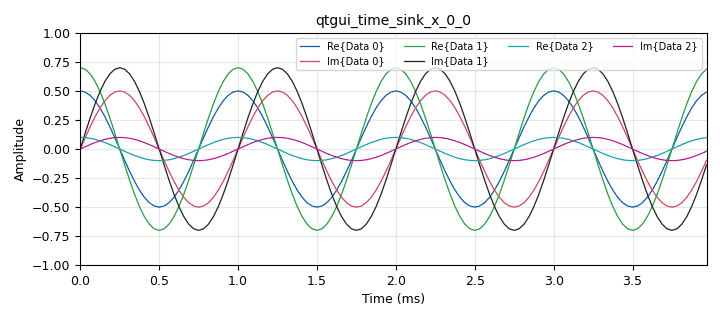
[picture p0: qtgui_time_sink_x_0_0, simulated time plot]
<?xml version='1.0' encoding='utf-8'?>
<?grc format='1' created='3.7.8'?>
<flow_graph>
<block>
<key>options</key>
<param><key>id</key><value>top_block</value></param>
<param><key>category</key><value>Custom</value></param>
<param><key>generate_options</key><value>qt_gui</value></param>
</block>
<block>
<key>variable</key>
<param><key>id</key><value>cal_tone_freq</value></param>
<param><key>value</key><value>1000</value></param>
</block>
<block>
<key>variable</key>
<param><key>id</key><value>samp_rate</value></param>
<param><key>value</key><value>32000</value></param>
</block>
<block>
<key>variable</key>
<param><key>id</key><value>samp_rate_0</value></param>
<param><key>value</key><value>32000</value></param>
</block>
<block>
<key>variable_qtgui_chooser</key>
<param><key>id</key><value>variable_qtgui_chooser_0</value></param>
<param><key>value</key><value>0</value></param>
<param><key>label0</key><value>Enable</value></param>
<param><key>label1</key><value>Disable</value></param>
<param><key>label</key><value>Enable</value></param>
<param><key>num_opts</key><value>2</value></param>
<param><key>option0</key><value>1</value></param>
<param><key>option1</key><value>0</value></param>
<param><key>orient</key><value>Qt.QHBoxLayout</value></param>
<param><key>type</key><value>raw</value></param>
<param><key>widget</key><value>radio_buttons</value></param>
</block>
<block>
<key>variable_qtgui_range</key>
<param><key>id</key><value>variable_qtgui_range_0</value></param>
<param><key>value</key><value>10</value></param>
<param><key>orient</key><value>Qt.Horizontal</value></param>
<param><key>start</key><value>0</value></param>
<param><key>step</key><value>1</value></param>
<param><key>stop</key><value>100</value></param>
</block>
<block>
<key>analog_sig_source_x</key>
<param><key>id</key><value>analog_sig_source_x_0</value></param>
<param><key>amp</key><value>1</value></param>
<param><key>freq</key><value>1000</value></param>
<param><key>offset</key><value>0</value></param>
<param><key>type</key><value>complex</value></param>
<param><key>samp_rate</key><value>samp_rate_0</value></param>
<param><key>waveform</key><value>analog.GR_COS_WAVE</value></param>
</block>
<block>
<key>blocks_multiply_const_vxx</key>
<param><key>id</key><value>blocks_multiply_const_vxx_0</value></param>
<param><key>const</key><value>0.5</value></param>
<param><key>type</key><value>complex</value></param>
</block>
<block>
<key>blocks_multiply_const_vxx</key>
<param><key>id</key><value>blocks_multiply_const_vxx_0_0</value></param>
<param><key>const</key><value>variable_qtgui_range_0*0.01</value></param>
<param><key>type</key><value>complex</value></param>
</block>
<block>
<key>blocks_multiply_const_vxx</key>
<param><key>id</key><value>blocks_multiply_const_vxx_0_1</value></param>
<param><key>const</key><value>0.7</value></param>
<param><key>type</key><value>complex</value></param>
</block>
<block>
<key>blocks_throttle</key>
<param><key>id</key><value>blocks_throttle_0</value></param>
<param><key>samples_per_second</key><value>samp_rate</value></param>
<param><key>type</key><value>complex</value></param>
</block>
<block>
<key>correct_gains_hier</key>
<param><key>id</key><value>correct_gains_hier_0</value></param>
<param><key>cal_tone_freq</key><value>1</value></param>
<param><key>enabler</key><value>variable_qtgui_chooser_0</value></param>
<param><key>_enabled</key><value>0</value></param>
<param><key>samp_rate_0</key><value>samp_rate</value></param>
</block>
<block>
<key>qtgui_time_sink_x</key>
<param><key>id</key><value>qtgui_time_sink_x_0</value></param>
<param><key>autoscale</key><value>True</value></param>
<param><key>color1</key><value>"blue"</value></param>
<param><key>label1</key><value></value></param>
<param><key>color2</key><value>"red"</value></param>
<param><key>label2</key><value></value></param>
<param><key>color3</key><value>"green"</value></param>
<param><key>label3</key><value></value></param>
<param><key>color4</key><value>"black"</value></param>
<param><key>label4</key><value></value></param>
<param><key>color5</key><value>"cyan"</value></param>
<param><key>label5</key><value></value></param>
<param><key>color6</key><value>"magenta"</value></param>
<param><key>label6</key><value></value></param>
<param><key>nconnections</key><value>3</value></param>
<param><key>size</key><value>128</value></param>
<param><key>srate</key><value>samp_rate</value></param>
<param><key>type</key><value>complex</value></param>
</block>
<block>
<key>qtgui_time_sink_x</key>
<param><key>id</key><value>qtgui_time_sink_x_0_0</value></param>
<param><key>color1</key><value>"blue"</value></param>
<param><key>label1</key><value></value></param>
<param><key>color2</key><value>"red"</value></param>
<param><key>label2</key><value></value></param>
<param><key>color3</key><value>"green"</value></param>
<param><key>label3</key><value></value></param>
<param><key>color4</key><value>"black"</value></param>
<param><key>label4</key><value></value></param>
<param><key>color5</key><value>"cyan"</value></param>
<param><key>label5</key><value></value></param>
<param><key>color6</key><value>"magenta"</value></param>
<param><key>label6</key><value></value></param>
<param><key>nconnections</key><value>3</value></param>
<param><key>size</key><value>128</value></param>
<param><key>srate</key><value>samp_rate</value></param>
<param><key>type</key><value>complex</value></param>
</block>
<block>
<key>wifius_divide_by_message</key>
<param><key>id</key><value>wifius_divide_by_message_0</value></param>
</block>
<block>
<key>wifius_divide_by_message</key>
<param><key>id</key><value>wifius_divide_by_message_0_0</value></param>
</block>
<block>
<key>wifius_divide_by_message</key>
<param><key>id</key><value>wifius_divide_by_message_0_1</value></param>
</block>
<block>
<key>wifius_find_scale_factor</key>
<param><key>id</key><value>wifius_find_scale_factor_0</value></param>
<param><key>cal_tone_freq</key><value>cal_tone_freq</value></param>
<param><key>samp_rate</key><value>samp_rate_0</value></param>
</block>
<block>
<key>wifius_find_scale_factor</key>
<param><key>id</key><value>wifius_find_scale_factor_0_0</value></param>
<param><key>cal_tone_freq</key><value>cal_tone_freq</value></param>
<param><key>samp_rate</key><value>samp_rate_0</value></param>
</block>
<block>
<key>wifius_find_scale_factor</key>
<param><key>id</key><value>wifius_find_scale_factor_0_1</value></param>
<param><key>cal_tone_freq</key><value>cal_tone_freq</value></param>
<param><key>samp_rate</key><value>samp_rate_0</value></param>
</block>
<connection><source_block_id>analog_sig_source_x_0</source_block_id><sink_block_id>blocks_throttle_0</sink_block_id><source_key>0</source_key><sink_key>0</sink_key></connection>
<connection><source_block_id>blocks_multiply_const_vxx_0</source_block_id><sink_block_id>correct_gains_hier_0</sink_block_id><source_key>0</source_key><sink_key>1</sink_key></connection>
<connection><source_block_id>blocks_multiply_const_vxx_0</source_block_id><sink_block_id>qtgui_time_sink_x_0_0</sink_block_id><source_key>0</source_key><sink_key>0</sink_key></connection>
<connection><source_block_id>blocks_multiply_const_vxx_0</source_block_id><sink_block_id>wifius_divide_by_message_0_0</sink_block_id><source_key>0</source_key><sink_key>0</sink_key></connection>
<connection><source_block_id>blocks_multiply_const_vxx_0</source_block_id><sink_block_id>wifius_find_scale_factor_0_0</sink_block_id><source_key>0</source_key><sink_key>0</sink_key></connection>
<connection><source_block_id>blocks_multiply_const_vxx_0_0</source_block_id><sink_block_id>correct_gains_hier_0</sink_block_id><source_key>0</source_key><sink_key>0</sink_key></connection>
<connection><source_block_id>blocks_multiply_const_vxx_0_0</source_block_id><sink_block_id>qtgui_time_sink_x_0_0</sink_block_id><source_key>0</source_key><sink_key>2</sink_key></connection>
<connection><source_block_id>blocks_multiply_const_vxx_0_0</source_block_id><sink_block_id>wifius_divide_by_message_0</sink_block_id><source_key>0</source_key><sink_key>0</sink_key></connection>
<connection><source_block_id>blocks_multiply_const_vxx_0_0</source_block_id><sink_block_id>wifius_find_scale_factor_0</sink_block_id><source_key>0</source_key><sink_key>0</sink_key></connection>
<connection><source_block_id>blocks_multiply_const_vxx_0_1</source_block_id><sink_block_id>correct_gains_hier_0</sink_block_id><source_key>0</source_key><sink_key>2</sink_key></connection>
<connection><source_block_id>blocks_multiply_const_vxx_0_1</source_block_id><sink_block_id>qtgui_time_sink_x_0_0</sink_block_id><source_key>0</source_key><sink_key>1</sink_key></connection>
<connection><source_block_id>blocks_multiply_const_vxx_0_1</source_block_id><sink_block_id>wifius_divide_by_message_0_1</sink_block_id><source_key>0</source_key><sink_key>0</sink_key></connection>
<connection><source_block_id>blocks_multiply_const_vxx_0_1</source_block_id><sink_block_id>wifius_find_scale_factor_0_1</sink_block_id><source_key>0</source_key><sink_key>0</sink_key></connection>
<connection><source_block_id>blocks_throttle_0</source_block_id><sink_block_id>blocks_multiply_const_vxx_0</sink_block_id><source_key>0</source_key><sink_key>0</sink_key></connection>
<connection><source_block_id>blocks_throttle_0</source_block_id><sink_block_id>blocks_multiply_const_vxx_0_0</sink_block_id><source_key>0</source_key><sink_key>0</sink_key></connection>
<connection><source_block_id>blocks_throttle_0</source_block_id><sink_block_id>blocks_multiply_const_vxx_0_1</sink_block_id><source_key>0</source_key><sink_key>0</sink_key></connection>
<connection><source_block_id>correct_gains_hier_0</source_block_id><sink_block_id>qtgui_time_sink_x_0</sink_block_id><source_key>0</source_key><sink_key>0</sink_key></connection>
<connection><source_block_id>correct_gains_hier_0</source_block_id><sink_block_id>qtgui_time_sink_x_0</sink_block_id><source_key>1</source_key><sink_key>1</sink_key></connection>
<connection><source_block_id>correct_gains_hier_0</source_block_id><sink_block_id>qtgui_time_sink_x_0</sink_block_id><source_key>2</source_key><sink_key>2</sink_key></connection>
<connection><source_block_id>wifius_divide_by_message_0</source_block_id><sink_block_id>qtgui_time_sink_x_0</sink_block_id><source_key>0</source_key><sink_key>0</sink_key></connection>
<connection><source_block_id>wifius_divide_by_message_0_0</source_block_id><sink_block_id>qtgui_time_sink_x_0</sink_block_id><source_key>0</source_key><sink_key>1</sink_key></connection>
<connection><source_block_id>wifius_divide_by_message_0_1</source_block_id><sink_block_id>qtgui_time_sink_x_0</sink_block_id><source_key>0</source_key><sink_key>2</sink_key></connection>
<connection><source_block_id>wifius_find_scale_factor_0</source_block_id><sink_block_id>wifius_divide_by_message_0</sink_block_id><source_key>message</source_key><sink_key>set_divisor</sink_key></connection>
<connection><source_block_id>wifius_find_scale_factor_0_0</source_block_id><sink_block_id>wifius_divide_by_message_0_0</sink_block_id><source_key>message</source_key><sink_key>set_divisor</sink_key></connection>
<connection><source_block_id>wifius_find_scale_factor_0_1</source_block_id><sink_block_id>wifius_divide_by_message_0_1</sink_block_id><source_key>message</source_key><sink_key>set_divisor</sink_key></connection>
</flow_graph>
